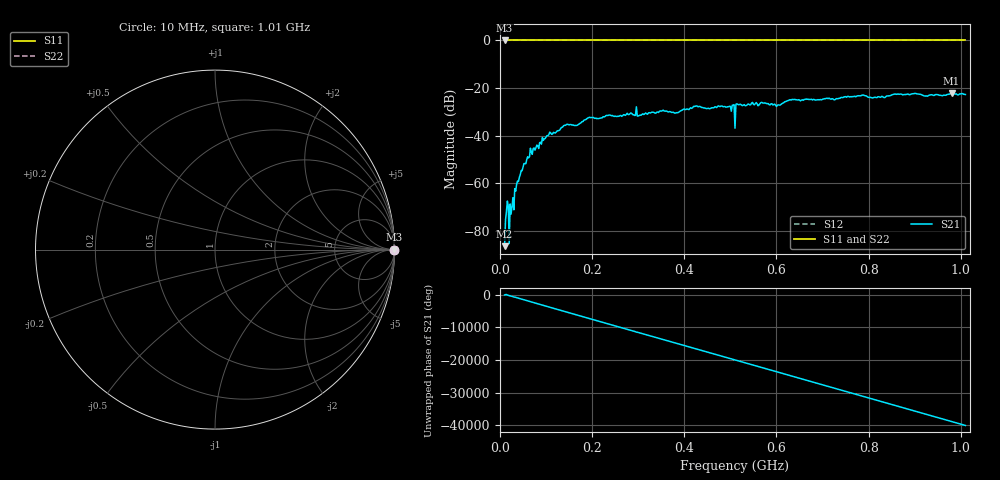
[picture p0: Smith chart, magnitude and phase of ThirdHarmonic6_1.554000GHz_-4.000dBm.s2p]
! 8/16/2025 6:26:52 PM
! C:\ANRITSUVNA\TEMP\TEMP.S2P
! CHANNEL.1
! TR.MEASUREMENT
! RAW.DATA
! RF.CORRECTION.OFF
! AVERAGING.OFF
! IF.BANDWIDTH: 5KHZ
! SWEEPTYPE:  FREQ.SWEEP(Linear)
! Reference Plane Port Info
! PORT:  PORT1  PORT2
! DISTANCE:  0  m  0  m
! TIME:  0  s  0  s
! PHASE.OFFSET:  0  deg.  0  deg.
! LOSS:  0  dB  0  dB
! REF.LOSS:  0  dB  0  dB
! REF.FREQ:  0  Hz  0  Hz
! Power Info
! POWER:  -20  dBm  -20  dBm
! EFF.POWER:  -20  dBm  -20  dBm
! SOURCE.ATTEN:  0  dB  0  dB
! TEST.ATTEN:  0  dB  0  dB
# GHZ S RI R 50.0
! FREQ.GHZ  S11RE  S11IM  S21RE  S21IM  S12RE  S12IM  S22RE  S22IM
!; PortSelection: Port_12
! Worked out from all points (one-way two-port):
!   501 points, 10 MHz to 1.01 GHz, reference 50 ohm
!   highest |S21| = -22.11 dB at 980 MHz (marker M1); lowest = -86.4 dB at 10 MHz (marker M2)
!   lowest |S11| = 0.0 dB at 10 MHz (marker M3)
!   |S11| at or under -10 dB: nowhere
!   |S22| runs from 0.0 to 0.0 dB; largest |S21 - S12| = 1.1
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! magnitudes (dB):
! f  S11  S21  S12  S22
! 10 MHz  0.0  -86.4  0.0  0.0
! 14 MHz  0.0  -71.7  0.0  0.0
! 24 MHz  0.0  -73.0  0.0  0.0
! 36 MHz  0.0  -60.5  0.0  0.0
! 48 MHz  0.0  -54.7  0.0  0.0
! 70 MHz  0.0  -47.8  0.0  0.0
! 106 MHz  0.0  -39.6  0.0  0.0
! 142 MHz  0.0  -35.6  0.0  0.0
! 178 MHz  0.0  -34.1  0.0  0.0
! 196 MHz  0.0  -32.3  0.0  0.0
! 344 MHz  0.0  -30.3  0.0  0.0
! 384 MHz  0.0  -30.3  0.0  0.0
! 424 MHz  0.0  -27.6  0.0  0.0
! 510 MHz  0.0  -36.9  0.0  0.0
! 514 MHz  0.0  -26.7  0.0  0.0
! 516 MHz  0.0  -26.9  0.0  0.0
! 604 MHz  0.0  -27.1  0.0  0.0
! 632 MHz  0.0  -25.0  0.0  0.0
! 678 MHz  0.0  -25.0  0.0  0.0
! 844 MHz  0.0  -23.3  0.0  0.0
! 980 MHz  0.0  -22.1  0.0  0.0
! 1.01 GHz  0.0  -22.7  0.0  0.0
